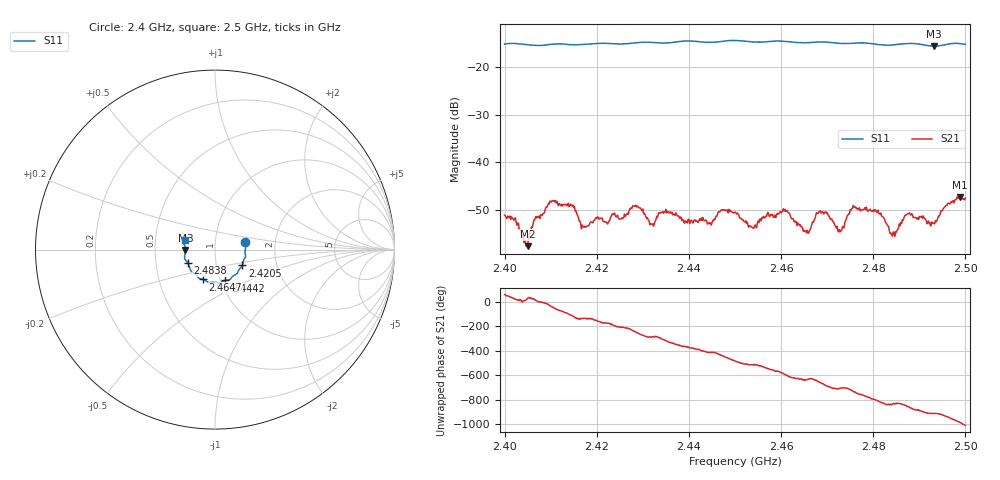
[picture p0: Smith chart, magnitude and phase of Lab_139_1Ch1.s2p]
# Hz S RI R 50
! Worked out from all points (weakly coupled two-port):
!   601 points, 2.4 GHz to 2.5 GHz, reference 50 ohm
!   highest |S21| = -47.30 dB at 2.4988 GHz (marker M1); lowest = -57.7 dB at 2.405 GHz (marker M2)
!   lowest |S11| = -15.6 dB at 2.4932 GHz (marker M3), VSWR 1.40, Z = 35.8 - j0.171 ohm
!   |S11| at or under -10 dB: start of sweep to end of sweep
!   S12 and S22 are empty: the file has one direction only
!   S11 on the Smith chart (normalised r, x): 2.4 GHz: 1.40, +0.11; 2.4205 GHz: 1.34, -0.24; 2.4442 GHz: 1.05, -0.37; 2.4647 GHz: 0.83, -0.29; 2.4838 GHz: 0.73, -0.11; 2.5 GHz: 0.71, +0.08
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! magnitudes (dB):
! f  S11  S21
! 2.4 GHz  -15.2  -51.1
! 2.405 GHz  -15.3  -57.7
! 2.4103 GHz  -15.2  -48.1
! 2.4147 GHz  -15.4  -49.2
! 2.4167 GHz  -15.3  -54.0
! 2.4205 GHz  -15.1  -52.0
! 2.4333 GHz  -14.9  -51.0
! 2.4442 GHz  -14.8  -53.0
! 2.45 GHz  -14.4  -50.5
! 2.4542 GHz  -14.8  -53.7
! 2.461 GHz  -14.7  -50.4
! 2.4647 GHz  -14.9  -53.8
! 2.4667 GHz  -14.9  -53.1
! 2.4695 GHz  -14.8  -50.5
! 2.4728 GHz  -15.1  -54.7
! 2.476 GHz  -15.0  -49.5
! 2.4833 GHz  -15.5  -53.5
! 2.4838 GHz  -15.4  -55.0
! 2.4875 GHz  -15.1  -50.9
! 2.4932 GHz  -15.6  -53.0
! 2.4988 GHz  -15.1  -47.3
! 2.5 GHz  -15.2  -47.6
